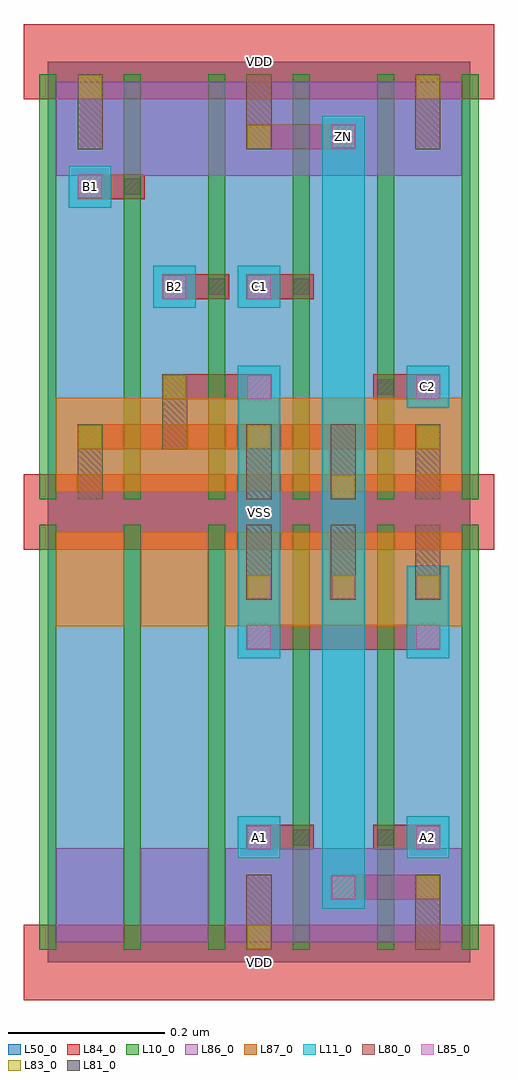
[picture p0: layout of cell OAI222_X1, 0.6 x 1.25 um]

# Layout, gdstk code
import gdstk
lib = gdstk.Library(unit=1e-6, precision=1e-09)
def R(c, l, rs):  # rectangles x0, y0, x1, y1
    for r in rs: c.add(gdstk.rectangle(r[:2], r[2:], *l))
def A(c, l, x, y, w, h, nx, ny, dx, dy):  # array of equal rectangles
    R(c, l, [(x+i*dx, y+j*dy, x+i*dx+w, y+j*dy+h) for i in range(nx) for j in range(ny)])
L10_0 = (10, 0)
L11_0 = (11, 0)
L50_0 = (50, 0)
L80_0 = (80, 0)
L81_0 = (81, 0)
L83_0 = (83, 0)
L84_0 = (84, 0)
L85_0 = (85, 0)
L86_0 = (86, 0)
L87_0 = (87, 0)

oai222_x1 = lib.new_cell('OAI222_X1')
A(oai222_x1, L10_0, -0.011, 0.016, 0.022, 0.544, 6, 2, 0.108, 0.576)
R(oai222_x1, L11_0, [(0.351,0.069,0.405,1.083), (0.243,0.133,0.297,0.187), (0.459,0.133,0.513,0.187), (0.243,0.389,0.297,0.763), (0.459,0.389,0.513,0.507), (0.459,0.709,0.513,0.763), (0.135,0.837,0.189,0.891), (0.243,0.837,0.297,0.891), (0.027,0.965,0.081,1.019)])
R(oai222_x1, L50_0, [(0,0,0.54,1.152)])
A(oai222_x1, L80_0, 0.254, 0.464, 0.032, 0.096, 3, 2, 0.108, 0.128)
A(oai222_x1, L80_0, 0.038, 1.04, 0.032, 0.096, 3, 1, 0.216, 0)
R(oai222_x1, L80_0, [(0.254,0.016,0.286,0.112), (0.47,0.016,0.502,0.112), (0.038,0.592,0.07,0.688), (0.146,0.656,0.178,0.752)])
R(oai222_x1, L81_0, [(0.314,0.15,0.334,0.17), (0.422,0.15,0.442,0.17), (0.422,0.726,0.442,0.746), (0.206,0.854,0.226,0.874), (0.314,0.854,0.334,0.874), (0.098,0.982,0.118,1.002)])
A(oai222_x1, L83_0, 0.256, 0.466, 0.028, 0.028, 3, 1, 0.108, 0)
A(oai222_x1, L83_0, 0.04, 0.658, 0.028, 0.028, 3, 1, 0.216, 0)
R(oai222_x1, L83_0, [(0.256,0.018,0.284,0.046), (0.472,0.082,0.5,0.11), (0.364,0.594,0.392,0.622), (0.148,0.722,0.176,0.75), (0.256,1.042,0.284,1.07), (0.04,1.106,0.068,1.134), (0.472,1.106,0.5,1.134)])
A(oai222_x1, L84_0, -0.031, -0.048, 0.602, 0.096, 1, 3, 0, 0.576)
A(oai222_x1, L84_0, 0.254, 0.464, 0.032, 0.032, 3, 1, 0.108, 0)
R(oai222_x1, L84_0, [(0.362,0.08,0.502,0.112), (0.254,0.144,0.34,0.176), (0.416,0.144,0.502,0.176), (0.254,0.4,0.502,0.432), (0.038,0.656,0.502,0.688), (0.146,0.72,0.286,0.752), (0.416,0.72,0.502,0.752), (0.146,0.848,0.232,0.88), (0.254,0.848,0.34,0.88), (0.038,0.976,0.124,1.008), (0.254,1.04,0.394,1.072)])
A(oai222_x1, L85_0, 0.255, 0.465, 0.03, 0.03, 3, 1, 0.108, 0)
R(oai222_x1, L85_0, [(0.363,0.081,0.393,0.111), (0.255,0.145,0.285,0.175), (0.471,0.145,0.501,0.175), (0.255,0.401,0.285,0.431), (0.471,0.401,0.501,0.431), (0.255,0.721,0.285,0.751), (0.471,0.721,0.501,0.751), (0.147,0.849,0.177,0.879), (0.255,0.849,0.285,0.879), (0.039,0.977,0.069,1.007), (0.363,1.041,0.393,1.071)])
R(oai222_x1, L86_0, [(0.011,0.026,0.097,0.146), (0.119,0.026,0.205,0.146), (0.227,0.026,0.529,0.146), (0.011,1.006,0.529,1.126)])
R(oai222_x1, L87_0, [(0.011,0.43,0.097,0.55), (0.119,0.43,0.205,0.55), (0.227,0.43,0.529,0.55), (0.011,0.602,0.529,0.722)])
oai222_x1.add(gdstk.Label('VSS', (0.27,0.576), layer=88, texttype=0))
oai222_x1.add(gdstk.Label('VDD', (0.27,0), layer=88, texttype=0))
oai222_x1.add(gdstk.Label('VDD', (0.27,1.152), layer=88, texttype=0))
oai222_x1.add(gdstk.Label('A1', (0.27,0.16), layer=31, texttype=0))
oai222_x1.add(gdstk.Label('A2', (0.486,0.16), layer=31, texttype=0))
oai222_x1.add(gdstk.Label('C1', (0.27,0.864), layer=31, texttype=0))
oai222_x1.add(gdstk.Label('B1', (0.054,0.992), layer=31, texttype=0))
oai222_x1.add(gdstk.Label('B2', (0.162,0.864), layer=31, texttype=0))
oai222_x1.add(gdstk.Label('C2', (0.486,0.736), layer=31, texttype=0))
oai222_x1.add(gdstk.Label('ZN', (0.378,1.056), layer=31, texttype=0))

lib.write_gds('OAI222_X1.gds')
